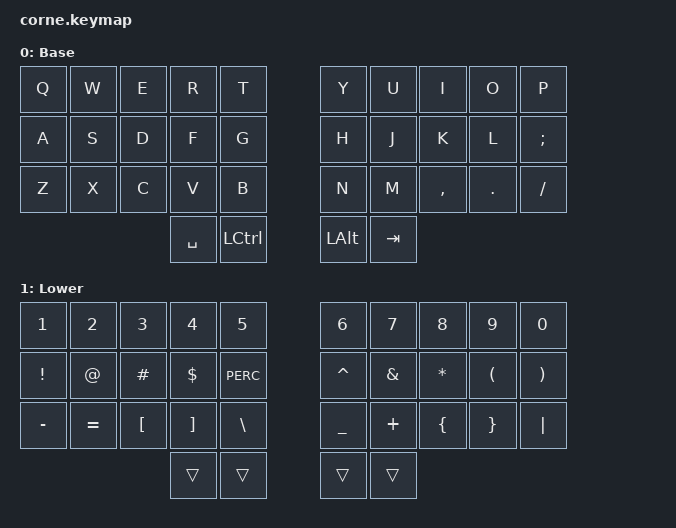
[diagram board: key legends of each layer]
/ {
    keymap {
        compatible = "zmk,keymap";

        default_layer {
            display-name = "Base";
            bindings = <
                &kp Q &kp W &kp E &kp R &kp T        &kp Y &kp U &kp I &kp O &kp P
                &kp A &kp S &kp D &kp F &kp G        &kp H &kp J &kp K &kp L &kp SEMI
                &kp Z &kp X &kp C &kp V &kp B        &kp N &kp M &kp COMMA &kp DOT &kp FSLH
                                &kp SPACE &kp LCTRL &kp LALT &kp TAB
            >;
        };

        lower_layer {
            display-name = "Lower";
            bindings = <
                &kp N1 &kp N2 &kp N3 &kp N4 &kp N5    &kp N6 &kp N7 &kp N8 &kp N9 &kp N0
                &kp EXCL &kp AT &kp HASH &kp DLLR &kp PERC  &kp CARET &kp AMPS &kp ASTRK &kp LPAR &kp RPAR
                &kp MINUS &kp EQUAL &kp LBKT &kp RBKT &kp BSLH  &kp UNDER &kp PLUS &kp LBRC &kp RBRC &kp PIPE
                                &trans &trans &trans &trans
            >;
        };
    };
};
